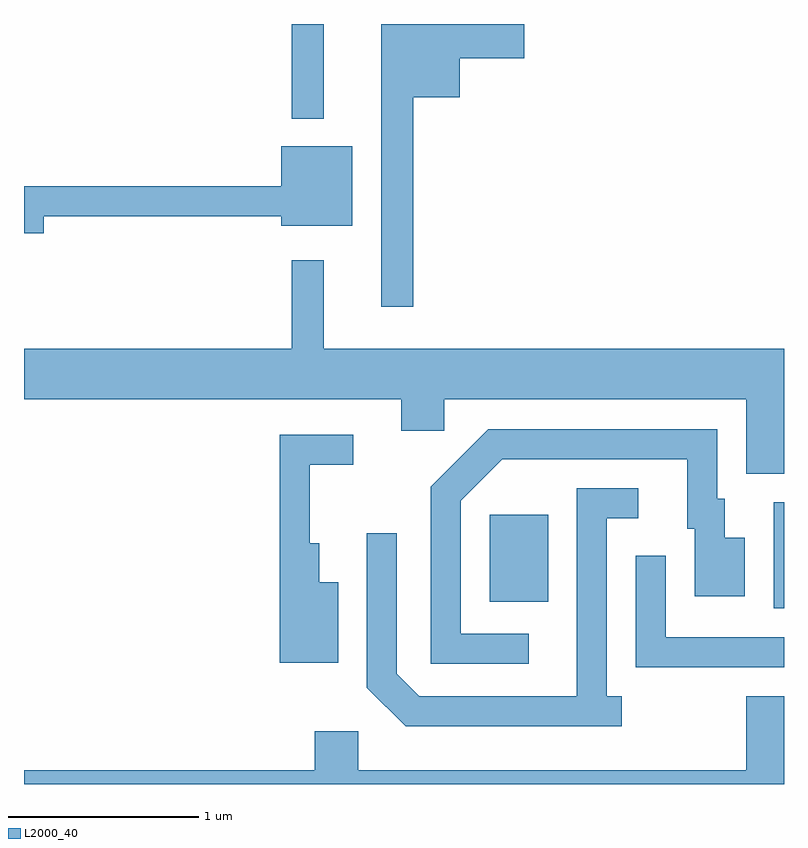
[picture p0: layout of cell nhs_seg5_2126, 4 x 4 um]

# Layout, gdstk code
import gdstk
lib = gdstk.Library(unit=1e-6, precision=1e-09)
def R(c, l, rs):  # rectangles x0, y0, x1, y1
    for r in rs: c.add(gdstk.rectangle(r[:2], r[2:], *l))
def P(c, l, *ps):  # polygons
    for p in ps: c.add(gdstk.Polygon(p, *l))
L2000_40 = (2000, 40)

nhs_seg5_2126 = lib.new_cell('nhs_seg5_2126')
R(nhs_seg5_2126, L2000_40, [(251.556,1488.996,251.611,1489.554), (250.061,1489.031,250.369,1489.489), (249.021,1491.573,249.189,1492.072)])
P(nhs_seg5_2126, L2000_40, [(249.659,1491.686),(249.904,1491.686),(249.904,1491.891),(250.244,1491.891),(250.244,1492.072),(249.491,1492.072),(249.491,1490.583),(249.659,1490.583)],
  [(247.714,1491.061),(248.966,1491.061),(248.966,1491.011),(249.339,1491.011),(249.339,1491.429),(248.966,1491.429),(248.966,1491.219),(247.611,1491.219),(247.611,1490.971),(247.714,1490.971)],
  [(251.611,1490.364),(249.189,1490.364),(249.189,1490.828),(249.021,1490.828),(249.021,1490.364),(247.611,1490.364),(247.611,1490.096),(249.596,1490.096),(249.596,1489.931),(249.824,1489.931),(249.824,1490.096),(251.411,1490.096),(251.411,1489.706),(251.611,1489.706)],
  [(250.268,1488.864),(249.909,1488.864),(249.909,1489.564),(250.127,1489.781),(251.101,1489.781),(251.101,1489.416),(251.141,1489.416),(251.141,1489.061),(251.404,1489.061),(251.404,1489.369),(251.299,1489.369),(251.299,1489.574),(251.259,1489.574),(251.259,1489.939),(250.054,1489.939),(249.751,1489.637),(249.751,1488.706),(250.268,1488.706)],
  [(249.264,1489.134),(249.164,1489.134),(249.164,1489.339),(249.114,1489.339),(249.114,1489.751),(249.343,1489.751),(249.343,1489.909),(248.956,1489.909),(248.956,1488.711),(249.264,1488.711)],
  [(250.758,1488.534),(250.679,1488.534),(250.679,1489.471),(250.843,1489.471),(250.843,1489.629),(250.521,1489.629),(250.521,1488.534),(249.692,1488.534),(249.574,1488.652),(249.574,1489.393),(249.416,1489.393),(249.416,1488.579),(249.619,1488.376),(250.758,1488.376)],
  [(251.611,1488.844),(250.989,1488.844),(250.989,1489.273),(250.831,1489.273),(250.831,1488.686),(251.611,1488.686)],
  [(251.611,1488.534),(251.411,1488.534),(251.411,1488.144),(249.369,1488.144),(249.369,1488.349),(249.141,1488.349),(249.141,1488.144),(247.611,1488.144),(247.611,1488.072),(251.611,1488.072)])

lib.write_gds('nhs_seg5_2126.gds')
